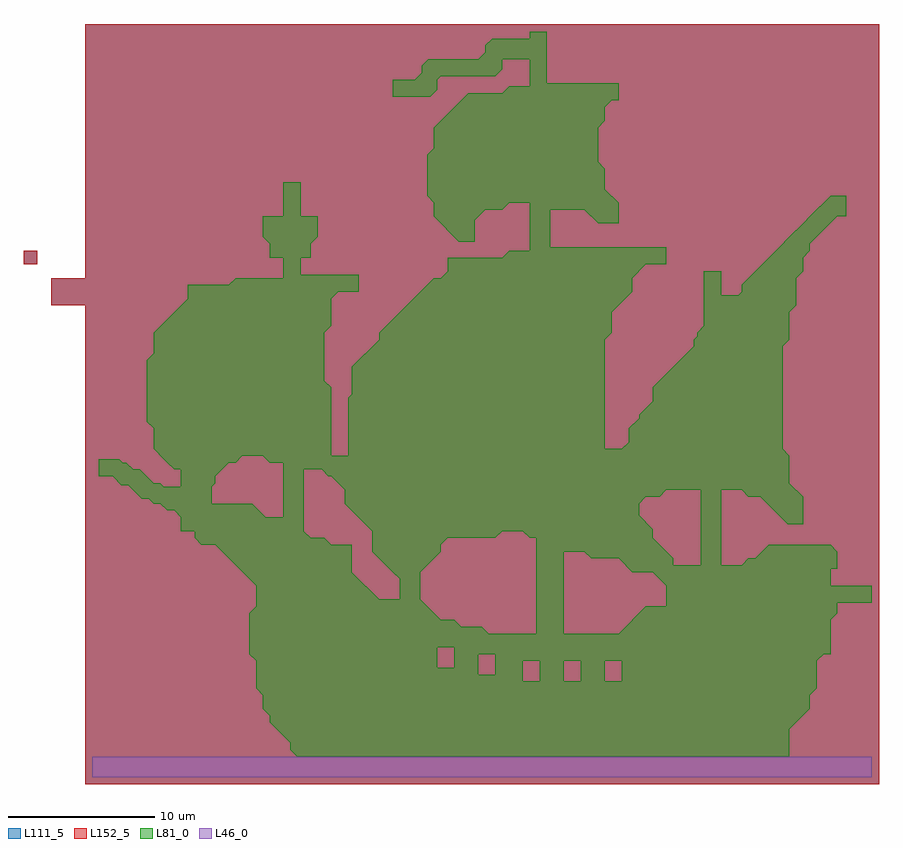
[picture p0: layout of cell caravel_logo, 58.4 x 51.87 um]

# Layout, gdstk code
import gdstk
lib = gdstk.Library(unit=1e-6, precision=1e-09)
def R(c, l, rs):  # rectangles x0, y0, x1, y1
    for r in rs: c.add(gdstk.rectangle(r[:2], r[2:], *l))
def P(c, l, *ps):  # polygons
    for p in ps: c.add(gdstk.Polygon(p, *l))
L46_0 = (46, 0)
L81_0 = (81, 0)
L111_5 = (111, 5)
L152_5 = (152, 5)

caravel_logo = lib.new_cell('caravel_logo')
R(caravel_logo, L46_0, [(-3.73,0.465,49.465,1.865)])
R(caravel_logo, L81_0, [(10.265,1.865,43.865,2.33), (9.8,2.33,43.865,4.2), (8.4,4.2,43.865,5.13), (7.93,5.13,45.265,6.53), (7.465,6.53,45.73,7), (7.465,7,25.665,7.465), (26.83,7,28.465,8.4), (29.63,7,31.265,8.4), (32.43,7,45.73,8.4), (7.465,7.465,22.63,7.93), (23.8,7.465,25.665,8.4), (7.465,7.93,19.83,8.865), (21,7.93,22.63,8.865), (23.8,8.4,45.73,8.865), (7,8.865,19.83,9.33), (21,8.865,46.665,9.33), (7,9.33,46.665,10.265), (7,10.265,22.865,10.73), (26.6,10.265,28.465,15.865), (34.065,10.265,46.665,11.665), (7,10.73,21,11.2), (7,11.2,18.665,11.665), (7.465,11.665,18.665,12.6), (34.065,11.665,47.13,12.13), (35.465,12.13,47.13,12.365), (35.465,12.365,49.465,13.53), (7.465,12.6,14,16.33), (17.265,12.6,18.665,14.465), (35.465,13.53,46.665,14.465), (16.8,14.465,18.665,15.865), (33.13,14.465,46.665,14.7), (33.13,14.7,47.13,14.93), (33.13,14.93,35.93,15.4), (37.8,14.93,39.2,20.065), (41.065,14.93,47.13,15.4), (30.33,15.4,34.53,15.865), (42.465,15.4,47.13,15.865), (15.4,15.865,20.065,16.8), (26.6,15.865,34.53,16.8), (42.465,15.865,46.665,16.33), (3.73,16.33,12.13,16.8), (3.265,16.8,10.73,17.265), (15.4,16.8,23.8,17.265), (26.13,16.8,34.53,17.265), (2.33,17.265,10.73,18.2), (15.4,17.265,34.53,17.4), (15.4,17.4,33.6,19.13), (43.73,17.73,44.8,19.6), (2.33,18.2,7.2,18.665), (9.33,18.2,10.73,21.465), (1.4,18.665,7.2,19.13), (0.465,19.13,4.43,19.465), (13.53,19.13,33.6,19.6), (-0.33,19.465,4.43,20.3), (13.53,19.6,35,20.065), (41.065,19.6,43.865,20.065), (13.53,20.065,43.865,21), (-0.33,20.3,0.93,20.4), (2.33,20.3,4.43,20.53), (-1.73,20.4,0.93,20.53), (-1.73,20.53,-0.465,21), (2.33,20.53,4.665,21.465), (-3.265,21,-0.465,21.465), (12.4,21,43.865,21.465), (-3.265,21.465,-1.4,21.93), (1.865,21.465,4.665,21.93), (9.33,21.465,43.865,21.93), (-3.265,21.93,-1.865,22.165), (1.4,21.93,6.065,22.165), (8.4,21.93,43.865,22.4), (1.165,22.165,6.065,22.4), (1.165,22.4,12.6,22.865), (13.765,22.4,43.4,22.865), (0.465,22.865,12.6,24.73), (13.765,22.865,31.265,26.365), (32.9,22.865,43.4,24.265), (33.6,24.265,43.4,25.2), (0,24.73,12.6,27.065), (34.53,25.2,43.4,27.065), (14,26.365,31.265,28.465), (0,27.065,12.13,28.93), (37.33,27.065,43.4,30.33), (15.865,28.465,31.265,30.8), (0.465,28.93,12.13,30.8), (37.565,30.33,43.865,30.8), (2.8,30.8,12.13,31.265), (18.2,30.8,31.73,33.13), (38.03,30.8,43.865,32.665), (2.8,31.265,12.6,33.6), (38.03,32.665,44.33,33.365), (18.67,33.13,31.73,33.6), (38.03,33.365,39.2,35), (40.6,33.365,44.33,34.065), (2.8,33.6,14.465,34.065), (19.6,33.6,33.13,34.53), (6.065,34.065,14.465,34.53), (41.535,34.065,44.33,35), (9.33,34.53,14.465,34.765), (20.3,34.53,33.13,34.77), (9.33,34.765,10.5,35.93), (20.53,34.77,33.13,35.465), (42,35,44.8,35.465), (20.53,35.465,35.465,35.93), (43.165,35.465,44.8,36.4), (8.4,35.93,11.2,37.33), (24.73,35.93,35.465,36.4), (26.13,36.4,35.465,36.63), (43.165,36.4,45.265,36.63), (26.13,36.63,27.53,39.2), (43.865,36.63,45.265,37.33), (21.31,37.02,22.375,38.73), (7.93,37.33,11.665,38.73), (44.8,37.33,45.265,38.265), (30.8,38.265,32.2,39.2), (9.33,38.73,10.5,41.065), (19.6,38.73,22.375,39.2), (46.665,38.73,47.73,40.13), (19.6,39.2,24.265,39.665), (26.13,39.2,32.2,39.665), (19.6,39.665,31.265,40.13), (19.13,40.13,31.265,42), (19.13,42,30.8,42.93), (19.6,42.93,30.8,44.8), (21.7,44.8,30.8,45.265), (21.7,45.265,31.265,46.665), (21.7,46.665,32.2,46.9), (16.8,46.9,19.365,47.365), (21.93,46.9,32.2,47.13), (24.73,47.13,32.2,47.6), (16.8,47.365,19.83,48.065), (26.13,47.6,32.2,47.83), (26.13,47.83,27.3,49.465), (18.765,48.065,19.83,48.3), (18.765,48.3,23.8,48.765), (18.765,48.765,24.265,49), (19.23,49,24.265,49.465), (23.1,49.465,27.3,50.4), (23.565,50.4,27.3,50.865), (26.13,50.865,27.3,51.33)])
P(caravel_logo, L81_0, [(23.1,50.4),(23.565,50.4),(23.565,50.865)],
  [(22.63,49.465),(23.1,49.465),(23.1,49.93)],
  [(18.765,49),(19.23,49),(19.23,49.465)],
  [(18.3,48.065),(18.765,48.065),(18.765,48.53)],
  [(23.8,48.3),(23.8,48.765),(24.265,48.765)],
  [(19.83,48.065),(19.83,48.3),(20.065,48.3)],
  [(19.365,46.9),(19.365,47.365),(19.83,47.365)],
  [(24.265,47.13),(24.73,47.13),(24.73,47.6)],
  [(21.7,46.9),(21.93,46.9),(21.93,47.13)],
  [(19.6,44.8),(21.7,44.8),(21.7,46.9)],
  [(31.265,46.2),(31.265,46.665),(31.73,46.665)],
  [(30.8,44.8),(30.8,45.265),(31.265,45.265)],
  [(19.13,42.93),(19.6,42.93),(19.6,43.4)],
  [(30.8,42.465),(30.8,42),(31.265,42)],
  [(19.13,40.13),(19.6,40.13),(19.6,39.665)],
  [(31.265,40.6),(31.265,39.665),(32.2,39.665)],
  [(24.265,39.2),(24.265,39.665),(24.73,39.665)],
  [(7.93,37.33),(8.4,37.33),(8.4,36.865)],
  [(11.2,36.865),(11.2,37.33),(11.665,37.33)],
  [(19.6,38.73),(21.31,38.73),(21.31,37.02)],
  [(22.375,38.475),(22.375,39.2),(23.1,39.2)],
  [(29.865,39.2),(30.8,39.2),(30.8,38.265)],
  [(45.265,38.73),(46.665,38.73),(46.665,40.13)],
  [(44.8,38.265),(45.265,38.265),(45.265,38.73)],
  [(43.865,37.33),(44.8,37.33),(44.8,38.265)],
  [(43.165,36.63),(43.865,36.63),(43.865,37.33)],
  [(45.265,36.865),(45.265,38.73),(47.13,38.73)],
  [(24.265,35.93),(24.73,35.93),(24.73,36.4)],
  [(42,35.465),(43.165,35.465),(43.165,36.63)],
  [(44.8,35.93),(44.8,36.4),(45.265,36.4)],
  [(20.3,34.77),(20.53,34.77),(20.53,35)],
  [(20.065,34.53),(20.3,34.53),(20.3,34.765)],
  [(33.13,34.53),(33.13,35.465),(34.065,35.465)],
  [(41.535,35),(42,35),(42,35.465)],
  [(5.6,34.065),(6.065,34.065),(6.065,34.53)],
  [(18.67,33.6),(19.6,33.6),(19.6,34.53)],
  [(0.465,30.8),(2.8,30.8),(2.8,33.13)],
  [(12.6,33.13),(12.6,33.6),(13.065,33.6)],
  [(18.2,33.13),(18.67,33.13),(18.67,33.6)],
  [(12.13,30.8),(12.13,31.265),(12.6,31.265)],
  [(15.865,30.8),(18.2,30.8),(18.2,33.13)],
  [(31.73,32.2),(31.73,33.6),(33.13,33.6)],
  [(40.6,34.065),(41.535,34.065),(41.535,35)],
  [(44.33,34.53),(44.33,35),(44.8,35)],
  [(40.365,33.365),(40.6,33.365),(40.6,33.6)],
  [(0,28.93),(0.465,28.93),(0.465,29.4)],
  [(14,28.465),(15.865,28.465),(15.865,30.33)],
  [(31.265,30.33),(31.265,30.8),(31.73,30.8)],
  [(37.565,30.8),(38.03,30.8),(38.03,31.265)],
  [(43.865,32.2),(43.865,32.665),(44.33,32.665)],
  [(37.33,30.33),(37.565,30.33),(37.565,30.565)],
  [(12.13,27.53),(12.13,27.065),(12.6,27.065)],
  [(0,24.73),(0.465,24.73),(0.465,24.265)],
  [(0.465,22.865),(1.165,22.865),(1.165,22.165)],
  [(13.765,26.365),(14,26.365),(14,26.6)],
  [(34.53,27.065),(37.33,27.065),(37.33,29.865)],
  [(43.4,29.865),(43.4,30.33),(43.865,30.33)],
  [(33.6,25.2),(34.53,25.2),(34.53,26.13)],
  [(32.9,24.265),(33.6,24.265),(33.6,24.965)],
  [(32.43,22.865),(32.9,22.865),(32.9,23.33)],
  [(43.4,22.865),(43.4,22.4),(43.865,22.4)],
  [(-1.865,22.165),(-1.865,21.93),(-1.63,21.93)],
  [(1.165,22.165),(1.4,22.165),(1.4,21.93)],
  [(6.065,21.93),(6.065,22.4),(6.53,22.4)],
  [(7.93,22.4),(8.4,22.4),(8.4,21.93)],
  [(-1.4,21.93),(-1.4,21.465),(-0.93,21.465)],
  [(1.4,21.93),(1.865,21.93),(1.865,21.465)],
  [(-2.33,21),(-1.73,21),(-1.73,20.4)],
  [(-0.465,21.465),(-0.465,20.53),(0.465,20.53)],
  [(4.665,21),(4.665,21.93),(5.6,21.93)],
  [(-1.265,20.4),(-0.33,20.4),(-0.33,19.465)],
  [(0.93,20.53),(0.93,20.3),(1.165,20.3)],
  [(4.43,20.3),(4.43,20.53),(4.665,20.53)],
  [(0.13,19.465),(0.465,19.465),(0.465,19.13)],
  [(0.93,19.13),(1.4,19.13),(1.4,18.665)],
  [(1.865,18.665),(2.33,18.665),(2.33,18.2)],
  [(7.2,19.13),(7.2,18.2),(8.13,18.2)],
  [(11.93,21.465),(12.4,21.465),(12.4,21)],
  [(12.6,21),(13.53,21),(13.53,20.065)],
  [(35,19.6),(35,20.065),(35.465,20.065)],
  [(33.6,19.13),(33.6,19.6),(34.065,19.6)],
  [(13.53,19.13),(15.4,19.13),(15.4,17.265)],
  [(33.6,18.33),(33.6,17.4),(34.53,17.4)],
  [(10.73,17.265),(10.73,16.8),(11.2,16.8)],
  [(23.8,16.8),(23.8,17.265),(24.265,17.265)],
  [(25.665,17.265),(26.13,17.265),(26.13,16.8)],
  [(3.265,16.8),(3.73,16.8),(3.73,16.33)],
  [(12.13,16.8),(12.13,16.33),(12.6,16.33)],
  [(4.665,16.33),(7.465,16.33),(7.465,13.53)],
  [(20.065,16.33),(20.065,16.8),(20.53,16.8)],
  [(15.4,15.865),(16.8,15.865),(16.8,14.465)],
  [(18.665,14.465),(18.665,15.865),(20.065,15.865)],
  [(14,14.465),(14,12.6),(15.865,12.6)],
  [(16.8,14.465),(17.265,14.465),(17.265,14)],
  [(7,11.665),(7.465,11.665),(7.465,12.13)],
  [(18.665,12.6),(18.665,11.2),(20.065,11.2)],
  [(21,11.2),(21,10.73),(21.465,10.73)],
  [(22.865,10.73),(22.865,10.265),(23.33,10.265)],
  [(29.865,15.865),(30.33,15.865),(30.33,15.4)],
  [(34.53,16.8),(34.53,15.4),(35.93,15.4)],
  [(32.2,15.4),(33.13,15.4),(33.13,14.465)],
  [(40.6,20.065),(41.065,20.065),(41.065,19.6)],
  [(43.865,20.53),(43.865,19.6),(44.8,19.6)],
  [(41.865,19.6),(43.73,19.6),(43.73,17.73)],
  [(41.53,15.4),(42.465,15.4),(42.465,16.33)],
  [(46.665,16.33),(46.665,15.865),(47.13,15.865)],
  [(40.6,14.93),(41.065,14.93),(41.065,15.4)],
  [(34.53,14.465),(35.465,14.465),(35.465,13.53)],
  [(32.2,10.265),(34.065,10.265),(34.065,12.13)],
  [(46.665,11.2),(46.665,11.665),(47.13,11.665)],
  [(7,8.865),(7.465,8.865),(7.465,8.4)],
  [(45.73,8.4),(45.73,8.865),(46.2,8.865)],
  [(7.465,6.53),(7.93,6.53),(7.93,6.065)],
  [(45.265,6.065),(45.265,6.53),(45.73,6.53)],
  [(7.93,5.13),(8.4,5.13),(8.4,4.665)],
  [(8.4,4.2),(9.8,4.2),(9.8,2.8)],
  [(43.865,3.73),(43.865,5.13),(45.265,5.13)],
  [(9.8,2.33),(10.265,2.33),(10.265,1.865)])
R(caravel_logo, L111_5, [(-4.2,0,50,32.665), (-6.53,32.665,50,34.53), (-4.2,34.53,50,51.865), (-8.4,35.465,-7.465,36.4)])
R(caravel_logo, L152_5, [(-4.2,0,50,32.665), (-6.53,32.665,50,34.53), (-4.2,34.53,50,51.865), (-8.4,35.465,-7.465,36.4)])

lib.write_gds('caravel_logo.gds')
